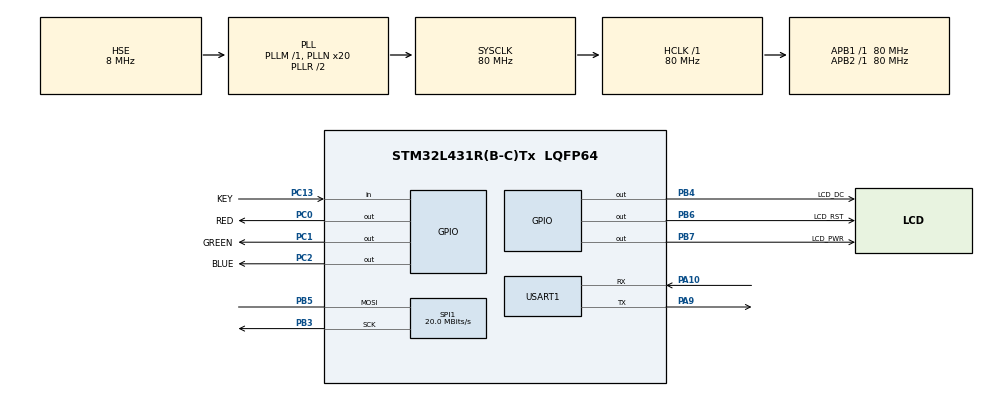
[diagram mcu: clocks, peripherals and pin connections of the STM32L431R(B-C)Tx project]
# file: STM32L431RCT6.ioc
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Mcu.Family=STM32L4
Mcu.Name=STM32L431R(B-C)Tx
Mcu.Package=LQFP64
NVIC.PriorityGroup=NVIC_PRIORITYGROUP_4
PA10.GPIO_PuPd=GPIO_PULLUP
PA10.Mode=Asynchronous
PA10.Signal=USART1_RX
PA13\ (JTMS-SWDIO).Mode=Serial_Wire
PA13\ (JTMS-SWDIO).Signal=SYS_JTMS-SWDIO
PA14\ (JTCK-SWCLK).Mode=Serial_Wire
PA14\ (JTCK-SWCLK).Signal=SYS_JTCK-SWCLK
PA9.GPIO_PuPd=GPIO_PULLUP
PA9.Mode=Asynchronous
PA9.Signal=USART1_TX
PB3\ (JTDO-TRACESWO).GPIO_PuPd=GPIO_PULLUP
PB3\ (JTDO-TRACESWO).Mode=Simplex_Bidirectional_Master
PB3\ (JTDO-TRACESWO).Signal=SPI1_SCK
PB4\ (NJTRST).GPIO_Label=LCD_DC
PB4\ (NJTRST).GPIO_PuPd=GPIO_PULLUP
PB4\ (NJTRST).GPIO_Speed=GPIO_SPEED_FREQ_VERY_HIGH
PB4\ (NJTRST).Signal=GPIO_Output
PB5.GPIO_PuPd=GPIO_PULLUP
PB5.Mode=Simplex_Bidirectional_Master
PB5.Signal=SPI1_MOSI
PB6.GPIO_Label=LCD_RST
PB6.GPIO_PuPd=GPIO_PULLUP
PB6.GPIO_Speed=GPIO_SPEED_FREQ_VERY_HIGH
PB6.Signal=GPIO_Output
PB7.GPIO_Label=LCD_PWR
PB7.GPIO_PuPd=GPIO_PULLUP
PB7.GPIO_Speed=GPIO_SPEED_FREQ_VERY_HIGH
PB7.Signal=GPIO_Output
PC0.GPIO_Label=RED
PC0.GPIO_PuPd=GPIO_PULLUP
PC0.PinState=GPIO_PIN_SET
PC0.Signal=GPIO_Output
PC1.GPIO_Label=GREEN
PC1.GPIO_PuPd=GPIO_PULLUP
PC1.PinState=GPIO_PIN_SET
PC1.Signal=GPIO_Output
PC13.GPIO_Label=KEY
PC13.GPIO_Mode=GPIO_MODE_INPUT
PC13.GPIO_PuPd=GPIO_PULLUP
PC13.Signal=GPIO_Input
PC2.GPIO_Label=BLUE
PC2.GPIO_PuPd=GPIO_PULLUP
PC2.PinState=GPIO_PIN_SET
PC2.Signal=GPIO_Output
PH0-OSC_IN\ (PH0).Mode=HSE-External-Oscillator
PH0-OSC_IN\ (PH0).Signal=RCC_OSC_IN
PH1-OSC_OUT\ (PH1).Mode=HSE-External-Oscillator
PH1-OSC_OUT\ (PH1).Signal=RCC_OSC_OUT
ProjectManager.HeapSize=0x200
ProjectManager.StackSize=0x400
ProjectManager.TargetToolchain=MDK-ARM V5.27
RCC.ADCFreq_Value=32000000
RCC.AHBFreq_Value=80000000
RCC.APB1Freq_Value=80000000
RCC.APB1TimFreq_Value=80000000
RCC.APB2Freq_Value=80000000
RCC.APB2TimFreq_Value=80000000
RCC.CortexFreq_Value=80000000
RCC.HCLKFreq_Value=80000000
RCC.HSE_VALUE=8000000
RCC.HSI48_VALUE=48000000
RCC.HSI_VALUE=16000000
RCC.LSE_VALUE=32768
RCC.MSI_VALUE=4000000
RCC.PLLN=20
RCC.PLLSourceVirtual=RCC_PLLSOURCE_HSE
RCC.SYSCLKFreq_VALUE=80000000
RCC.SYSCLKSource=RCC_SYSCLKSOURCE_PLLCLK
RCC.VCOOutputFreq_Value=160000000
SPI1.BaudRatePrescaler=SPI_BAUDRATEPRESCALER_4
SPI1.CLKPhase=SPI_PHASE_2EDGE
SPI1.CLKPolarity=SPI_POLARITY_HIGH
SPI1.CalculateBaudRate=20.0 MBits/s
SPI1.DataSize=SPI_DATASIZE_8BIT
SPI1.Direction=SPI_DIRECTION_1LINE
SPI1.Mode=SPI_MODE_MASTER
SPI1.VirtualType=VM_MASTER
USART1.VirtualMode-Asynchronous=VM_ASYNC
board=custom

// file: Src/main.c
/* USER CODE BEGIN Header */
/**
  ******************************************************************************
  * @file           : main.c
  * @brief          : Main program body
  ******************************************************************************
  * @attention
  *
  * <h2><center>&copy; Copyright (c) 2020 STMicroelectronics.
  * All rights reserved.</center></h2>
  *
  * This software component is licensed by ST under BSD 3-Clause license,
  * the "License"; You may not use this file except in compliance with the
  * License. You may obtain a copy of the License at:
  *                        opensource.org/licenses/BSD-3-Clause
  *
  ******************************************************************************
  */
/* USER CODE END Header */
#include "main.h"
#include "spi.h"
#include "usart.h"
#include "gpio.h"

/* USER CODE BEGIN Includes */
#include "BSP_GPIO.h"
#include "BSP_USART.h"
#include "BSP_spi.h"
#include "stdio.h"
#include "tftlcd.h"
/* USER CODE END Includes */

void SystemClock_Config(void);

/* USER CODE BEGIN 0 */
	char str[50] = {0};
	u8 t;
/* USER CODE END 0 */

int main(void)
{
  /* USER CODE BEGIN 1 */
	u8 color = 0;
  /* USER CODE END 1 */

  /* MCU Configuration--------------------------------------------------------*/

  /* Reset of all peripherals, Initializes the Flash interface and the Systick. */
  HAL_Init();

  /* Configure the system clock */
  SystemClock_Config();

  /* Initialize all configured peripherals */
  MX_GPIO_Init();
  MX_SPI1_Init();
  MX_USART1_UART_Init();
  /* USER CODE BEGIN 2 */
	LCD_Init();
	LCD_Clear(BLACK); 		//清屏
	BACK_COLOR=BLACK;
	POINT_COLOR=CYAN;
	LCD_ShowString(0, 0, 160, 12, 12, "Boring_TECH");
	LCD_ShowString(0, 15, 160, 12, 12, "TFTLCD TEST 160*80");

	LCD_ShowString(0, 30, 160, 16, 12, "STM32L0/L1/L4");
	LCD_ShowString(0, 45, 160, 12, 12, "2019/6/24");
  /* USER CODE END 2 */

  /* Infinite loop */
  /* USER CODE BEGIN WHILE */
  while (1)
  {
		switch(color%7)
		{
			case 0:
				LED_R(0);
				LED_G(1);
				LED_B(1);
				break;
			case 1:
				LED_R(1);
				LED_G(0);
				LED_B(1);
				break;
			case 2:
				LED_R(1);
				LED_G(1);
				LED_B(0);
				break;
			case 3:
				LED_R(0);
				LED_G(0);
				LED_B(1);
				break;
			case 4:
				LED_R(0);
				LED_G(1);
				LED_B(0);
				break;
			case 5:
				LED_R(1);
				LED_G(0);
				LED_B(0);
				break;
			case 6:
				LED_R(0);
				LED_G(0);
				LED_B(0);
				break;
			default:
				break;
		}
		color++;

		sprintf(str,"%4dABCD",t);
		LCD_ShowString(0, 60, 240, 12, 12, str);
		t++;

		HAL_Delay(1000);
    /* USER CODE END WHILE */

  }
}

void SystemClock_Config(void)
{
  RCC_OscInitTypeDef RCC_OscInitStruct = {0};
  RCC_ClkInitTypeDef RCC_ClkInitStruct = {0};

  /** Configure the main internal regulator output voltage
  */
  if (HAL_PWREx_ControlVoltageScaling(PWR_REGULATOR_VOLTAGE_SCALE1) != HAL_OK)
  {
    Error_Handler();
  }

  /** Initializes the RCC Oscillators according to the specified parameters
  * in the RCC_OscInitTypeDef structure.
  */
  RCC_OscInitStruct.OscillatorType = RCC_OSCILLATORTYPE_HSE;
  RCC_OscInitStruct.HSEState = RCC_HSE_ON;
  RCC_OscInitStruct.PLL.PLLState = RCC_PLL_ON;
  RCC_OscInitStruct.PLL.PLLSource = RCC_PLLSOURCE_HSE;
  RCC_OscInitStruct.PLL.PLLM = 1;
  RCC_OscInitStruct.PLL.PLLN = 20;
  RCC_OscInitStruct.PLL.PLLP = RCC_PLLP_DIV7;
  RCC_OscInitStruct.PLL.PLLQ = RCC_PLLQ_DIV2;
  RCC_OscInitStruct.PLL.PLLR = RCC_PLLR_DIV2;
  if (HAL_RCC_OscConfig(&RCC_OscInitStruct) != HAL_OK)
  {
    Error_Handler();
  }

  /** Initializes the CPU, AHB and APB buses clocks
  */
  RCC_ClkInitStruct.ClockType = RCC_CLOCKTYPE_HCLK|RCC_CLOCKTYPE_SYSCLK
                              |RCC_CLOCKTYPE_PCLK1|RCC_CLOCKTYPE_PCLK2;
  RCC_ClkInitStruct.SYSCLKSource = RCC_SYSCLKSOURCE_PLLCLK;
  RCC_ClkInitStruct.AHBCLKDivider = RCC_SYSCLK_DIV1;
  RCC_ClkInitStruct.APB1CLKDivider = RCC_HCLK_DIV1;
  RCC_ClkInitStruct.APB2CLKDivider = RCC_HCLK_DIV1;

  if (HAL_RCC_ClockConfig(&RCC_ClkInitStruct, FLASH_LATENCY_4) != HAL_OK)
  {
    Error_Handler();
  }
}

void Error_Handler(void)
{
}
